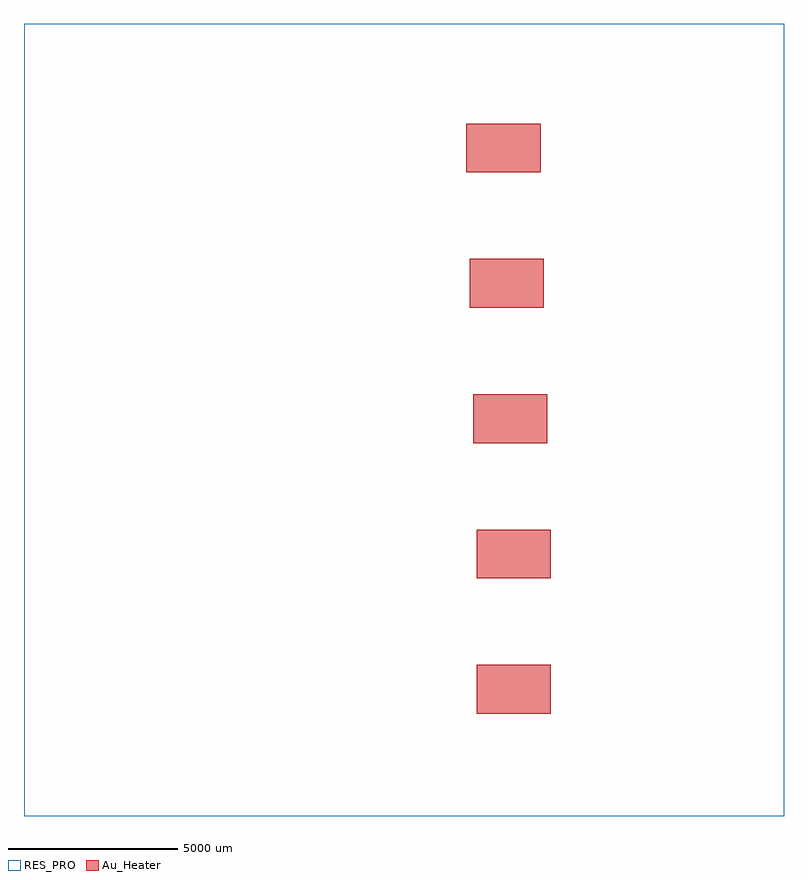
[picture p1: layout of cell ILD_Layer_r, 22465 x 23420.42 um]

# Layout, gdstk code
import gdstk
lib = gdstk.Library(unit=1e-6, precision=1e-09)
def R(c, l, rs):  # rectangles x0, y0, x1, y1
    for r in rs: c.add(gdstk.rectangle(r[:2], r[2:], *l))
Au_Heater = (9, 0)
RES_PRO = (10, 0)

ild_layer_r = lib.new_cell('ILD_Layer_r')
R(ild_layer_r, Au_Heater, [(3205.29,-8723.31,5397.29,-7280.311), (3205.29,-4723.31,5397.29,-3280.311), (3105.29,-723.31,5297.29,719.689), (3005.29,3276.69,5197.29,4719.689), (2905.29,7276.69,5097.29,8719.689)])
R(ild_layer_r, RES_PRO, [(-10171.71,-11752.561,12293.29,11667.855)])

lib.write_gds('ILD_Layer_r.gds')
